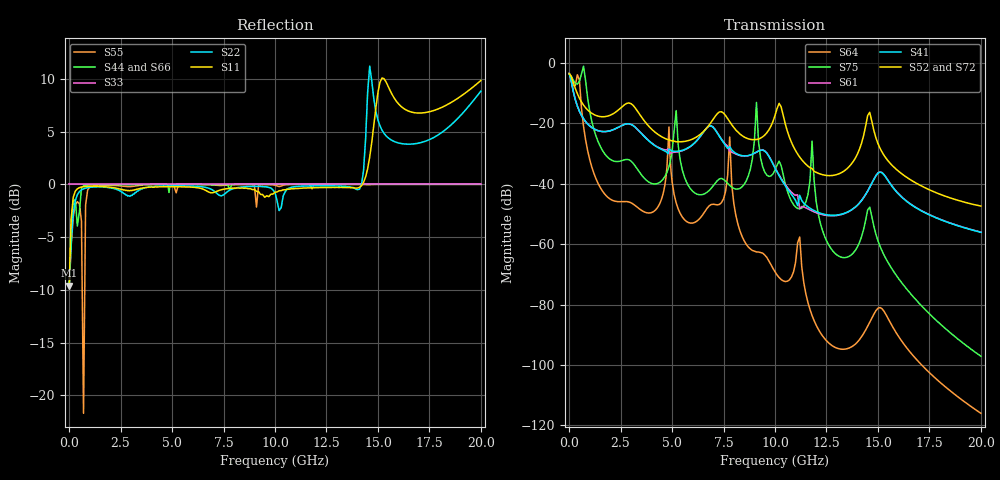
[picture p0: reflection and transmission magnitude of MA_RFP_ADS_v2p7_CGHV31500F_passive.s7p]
! AWR Design Environment (8379) Tue Sep 28 14:41:27 2021
! Document = 'CGHV31500F_passive'
! nPorts: 7, nXvals: 233
# HZ S DB R 50
!Freq DBS11 AngS11 DBS12 AngS12 DBS13 AngS13 DBS14 AngS14
!	DBS15 AngS15 DBS16 AngS16 DBS17 AngS17
!	DBS21 AngS21 DBS22 AngS22 DBS23 AngS23 DBS24 AngS24
!	DBS25 AngS25 DBS26 AngS26 DBS27 AngS27
!	DBS31 AngS31 DBS32 AngS32 DBS33 AngS33 DBS34 AngS34
!	DBS35 AngS35 DBS36 AngS36 DBS37 AngS37
!	DBS41 AngS41 DBS42 AngS42 DBS43 AngS43 DBS44 AngS44
!	DBS45 AngS45 DBS46 AngS46 DBS47 AngS47
!	DBS51 AngS51 DBS52 AngS52 DBS53 AngS53 DBS54 AngS54
!	DBS55 AngS55 DBS56 AngS56 DBS57 AngS57
!	DBS61 AngS61 DBS62 AngS62 DBS63 AngS63 DBS64 AngS64
!	DBS65 AngS65 DBS66 AngS66 DBS67 AngS67
!	DBS71 AngS71 DBS72 AngS72 DBS73 AngS73 DBS74 AngS74
!	DBS75 AngS75 DBS76 AngS76 DBS77 AngS77
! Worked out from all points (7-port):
!   232 points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, 1 kHz to 20 GHz, reference 50 ohm
!   strongest paths, dB at 1 kHz, 3.85 GHz, 8.5 GHz, 14.3 GHz, 20 GHz:
!     S52: -3.5, -20.8, -24.5, -24.2, -47.4
!     S72: -3.5, -20.8, -24.5, -24.2, -47.5
!     S41: -3.5, -25.7, -30.8, -44.6, -56.1
!     S61: -3.5, -25.6, -30.9, -44.6, -56.0
!     S75: -3.6, -39.3, -40.3, -55.2, -97.1
!     S64: -3.6, -49.7, -58.9, -89.6, -116.0
!   lowest |S11| = -9.6 dB at 10 kHz (marker M1), VSWR 1.99, Z = 25.1 - j0.00196 ohm
!   |S11| at or under -10 dB: nowhere
